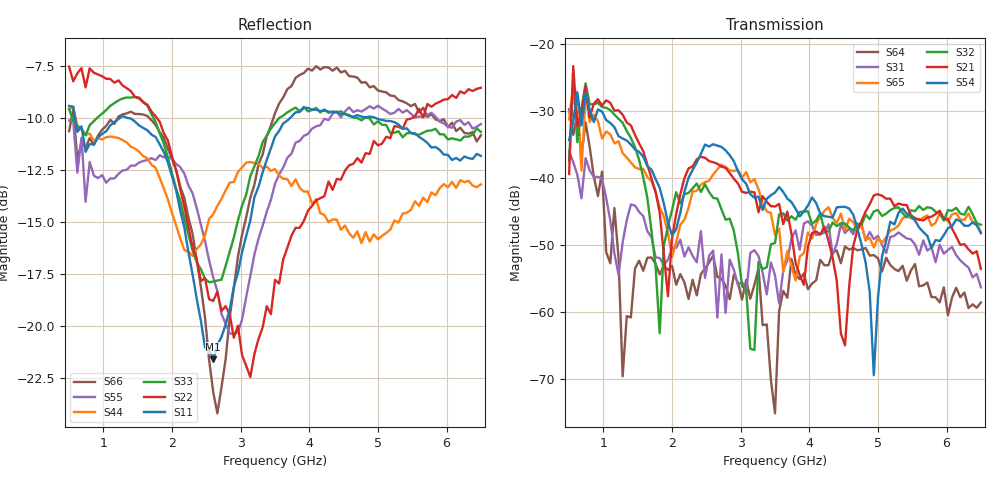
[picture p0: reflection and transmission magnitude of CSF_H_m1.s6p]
!Keysight Technologies,M9804A,MY58100912,A.14.10.03
!Date: Thursday, April 27, 2023 10:28:33
!Correction: S11(C  6-Port  )
!S12(C  6-Port  )
!S13(C  6-Port  )
!S14(C  6-Port  )
!S15(C  6-Port  )
!S16(C  6-Port  )
!S21(C  6-Port  )
!S22(C  6-Port  )
!S23(C  6-Port  )
!S24(C  6-Port  )
!S25(C  6-Port  )
!S26(C  6-Port  )
!S31(C  6-Port  )
!S32(C  6-Port  )
!S33(C  6-Port  )
!S34(C  6-Port  )
!S35(C  6-Port  )
!S36(C  6-Port  )
!S41(C  6-Port  )
!S42(C  6-Port  )
!S43(C  6-Port  )
!S44(C  6-Port  )
!S45(C  6-Port  )
!S46(C  6-Port  )
!S51(C  6-Port  )
!S52(C  6-Port  )
!S53(C  6-Port  )
!S54(C  6-Port  )
!S55(C  6-Port  )
!S56(C  6-Port  )
!S61(C  6-Port  )
!S62(C  6-Port  )
!S63(C  6-Port  )
!S64(C  6-Port  )
!S65(C  6-Port  )
!S66(C  6-Port  )
!S6P File: Measurement: :
# Hz S  RI  R 50
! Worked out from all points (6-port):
!   101 points, 500 MHz to 6.5 GHz, reference 50 ohm
!   strongest paths, dB at 500 MHz, 2 GHz, 3.5 GHz, 5 GHz, 6.5 GHz:
!     S54: -34.4, -48.6, -42.2, -58.0, -48.3
!     S21: -39.4, -49.1, -44.3, -42.4, -53.6
!     S32: -37.5, -44.8, -49.7, -44.8, -47.0
!     S65: -31.3, -51.9, -48.6, -49.0, -48.1
!     S31: -36.0, -50.5, -54.6, -48.7, -56.4
!     S64: -29.7, -53.2, -75.2, -52.0, -58.6
!   lowest |S11| = -21.6 dB at 2.6 GHz (marker M1), VSWR 1.18, Z = 42.6 + j2.05 ohm
!   |S11| at or under -10 dB: 587.8 MHz to 1.234 GHz (646.1 MHz wide, 70.9 % of centre); 1.382 GHz to 3.715 GHz (2.333 GHz wide, 91.6 % of centre); 4.973 GHz to end of sweep
